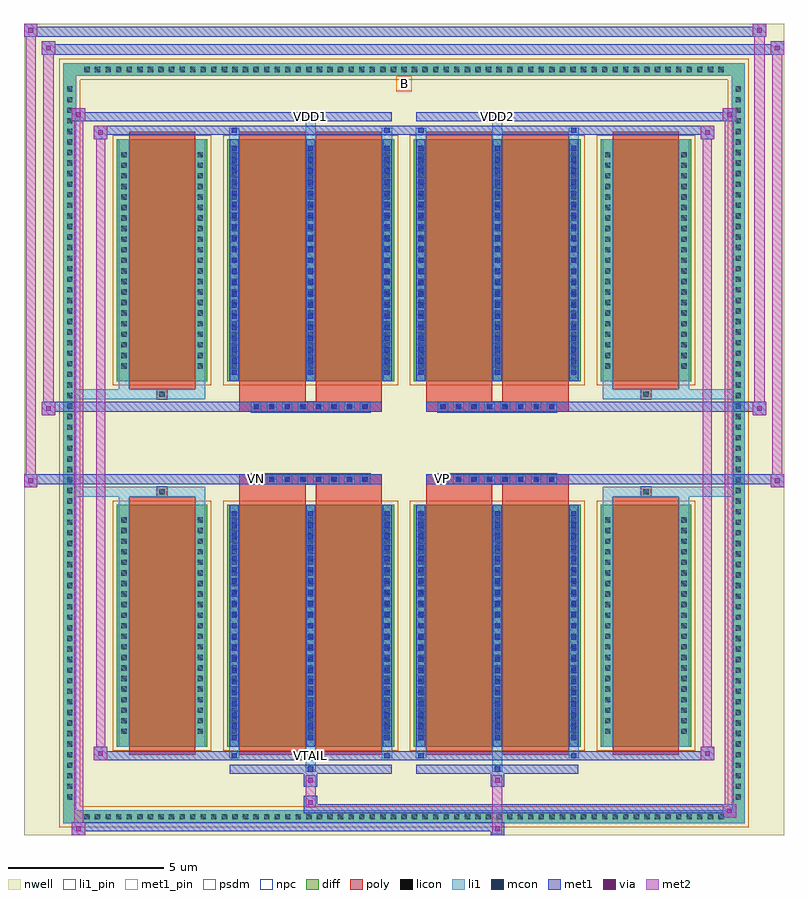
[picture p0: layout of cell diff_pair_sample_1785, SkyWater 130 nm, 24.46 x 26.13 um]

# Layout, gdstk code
import gdstk
lib = gdstk.Library(unit=1e-6, precision=5e-09)
def R(c, l, rs):  # rectangles x0, y0, x1, y1
    for r in rs: c.add(gdstk.rectangle(r[:2], r[2:], *l))
def A(c, l, x, y, w, h, nx, ny, dx, dy):  # array of equal rectangles
    R(c, l, [(x+i*dx, y+j*dy, x+i*dx+w, y+j*dy+h) for i in range(nx) for j in range(ny)])
def P(c, l, *ps):  # polygons
    for p in ps: c.add(gdstk.Polygon(p, *l))
nwell = (64, 20)
diff = (65, 20)
poly = (66, 20)
licon = (66, 44)
li1_pin = (67, 16)
li1 = (67, 20)
mcon = (67, 44)
met1_pin = (68, 16)
met1 = (68, 20)
via = (68, 44)
met2 = (69, 20)
psdm = (94, 20)
npc = (95, 20)

diff_pair_sample_1785 = lib.new_cell('diff_pair_sample_1785')
R(diff_pair_sample_1785, nwell, [(-12.23,-12.63,12.23,13.5), (-9.55,-10.82,-0.01,-0.8), (0.01,-10.82,9.55,-0.8), (-9.55,0.8,-0.01,10.82), (0.01,0.8,9.55,10.82)])
A(diff_pair_sample_1785, diff, -10.405, -12.23, 0.41, 0.41, 61, 2, 0.34, 24.05)
A(diff_pair_sample_1785, diff, -10.96, -11.595, 0.41, 0.41, 1, 68, 0, 0.34)
A(diff_pair_sample_1785, diff, 10.55, -11.595, 0.41, 0.41, 1, 68, 0, 0.34)
R(diff_pair_sample_1785, diff, [(-10.405,-12.23,10.405,-11.82), (-10.96,-11.595,-10.55,11.595), (10.55,-11.595,10.96,11.595), (-9.24,-9.775,-6.33,-1.985), (-5.69,-9.775,-0.32,-1.985), (0.32,-9.775,5.69,-1.985), (6.33,-9.775,9.24,-1.985), (-9.24,1.985,-6.33,9.775), (-5.69,1.985,-0.32,9.775), (0.32,1.985,5.69,9.775), (6.33,1.985,9.24,9.775), (-10.405,11.82,10.405,12.23)])
P(diff_pair_sample_1785, diff, [(10.96,12.23),(-10.96,12.23),(-10.96,-11.82),(-10.55,-11.82),(-10.55,11.82),(10.55,11.82),(10.55,-11.82),(-10.55,-11.82),(-10.96,-11.82),(-10.96,-12.23),(10.96,-12.23)])
A(diff_pair_sample_1785, poly, -4.92, -1.33, 0.33, 0.33, 8, 2, 0.5, 2.33)
A(diff_pair_sample_1785, poly, 1.09, -1.33, 0.33, 0.33, 8, 2, 0.5, 2.33)
R(diff_pair_sample_1785, poly, [(-8.85,-10.025,-6.72,-1.735), (-5.3,-10.025,-3.17,-1.735), (-2.84,-10.025,-0.71,-1.735), (0.71,-10.025,2.84,-1.735), (3.17,-10.025,5.3,-1.735), (6.72,-10.025,8.85,-1.735), (-7.95,-1.735,-7.62,-1.405), (-7.95,-1.735,-7.62,-1.405), (-5.3,-1.735,-3.17,-1.33), (-2.84,-1.735,-0.71,-1.33), (0.71,-1.735,2.84,-1.33), (3.17,-1.735,5.3,-1.33), (7.62,-1.735,7.95,-1.405), (7.62,-1.735,7.95,-1.405), (-5.3,-1.33,-0.71,-1), (0.71,-1.33,5.3,-1), (-5.3,1,-0.71,1.33), (0.71,1,5.3,1.33), (-5.3,1.33,-3.17,1.735), (-2.84,1.33,-0.71,1.735), (0.71,1.33,2.84,1.735), (3.17,1.33,5.3,1.735), (-7.95,1.405,-7.62,1.735), (-7.95,1.405,-7.62,1.735), (7.62,1.405,7.95,1.735), (7.62,1.405,7.95,1.735), (-8.85,1.735,-6.72,10.025), (-5.3,1.735,-3.17,10.025), (-2.84,1.735,-0.71,10.025), (0.71,1.735,2.84,10.025), (3.17,1.735,5.3,10.025), (6.72,1.735,8.85,10.025)])
A(diff_pair_sample_1785, licon, -10.285, -12.11, 0.17, 0.17, 61, 2, 0.34, 24.05)
A(diff_pair_sample_1785, licon, -10.84, -11.475, 0.17, 0.17, 1, 68, 0, 0.34)
A(diff_pair_sample_1785, licon, 10.67, -11.475, 0.17, 0.17, 1, 68, 0, 0.34)
A(diff_pair_sample_1785, licon, -9.1, -9.365, 0.17, 0.17, 1, 21, 0, 0.34)
A(diff_pair_sample_1785, licon, -6.64, -9.365, 0.17, 0.17, 1, 21, 0, 0.34)
A(diff_pair_sample_1785, licon, -5.55, -9.365, 0.17, 0.17, 3, 21, 2.46, 0.34)
A(diff_pair_sample_1785, licon, 0.46, -9.365, 0.17, 0.17, 3, 21, 2.46, 0.34)
A(diff_pair_sample_1785, licon, 6.47, -9.365, 0.17, 0.17, 1, 21, 0, 0.34)
A(diff_pair_sample_1785, licon, 8.93, -9.365, 0.17, 0.17, 1, 21, 0, 0.34)
A(diff_pair_sample_1785, licon, -4.84, -1.25, 0.17, 0.17, 8, 2, 0.5, 2.33)
A(diff_pair_sample_1785, licon, 1.17, -1.25, 0.17, 0.17, 8, 2, 0.5, 2.33)
A(diff_pair_sample_1785, licon, -9.1, 2.395, 0.17, 0.17, 1, 21, 0, 0.34)
A(diff_pair_sample_1785, licon, -6.64, 2.395, 0.17, 0.17, 1, 21, 0, 0.34)
A(diff_pair_sample_1785, licon, -5.55, 2.395, 0.17, 0.17, 3, 21, 2.46, 0.34)
A(diff_pair_sample_1785, licon, 0.46, 2.395, 0.17, 0.17, 3, 21, 2.46, 0.34)
A(diff_pair_sample_1785, licon, 6.47, 2.395, 0.17, 0.17, 1, 21, 0, 0.34)
A(diff_pair_sample_1785, licon, 8.93, 2.395, 0.17, 0.17, 1, 21, 0, 0.34)
R(diff_pair_sample_1785, licon, [(-7.87,-1.655,-7.7,-1.485), (7.7,-1.655,7.87,-1.485), (-7.87,1.485,-7.7,1.655), (7.7,1.485,7.87,1.655)])
R(diff_pair_sample_1785, li1_pin, [(-0.25,11.32,0.25,11.82)])
A(diff_pair_sample_1785, li1, -10.365, -12.19, 0.33, 0.33, 61, 2, 0.34, 24.05)
A(diff_pair_sample_1785, li1, -10.92, -11.555, 0.33, 0.33, 1, 68, 0, 0.34)
A(diff_pair_sample_1785, li1, 10.59, -11.555, 0.33, 0.33, 1, 68, 0, 0.34)
A(diff_pair_sample_1785, li1, -5.63, -9.775, 0.33, 7.79, 3, 2, 2.46, 11.76)
A(diff_pair_sample_1785, li1, 0.38, -9.775, 0.33, 7.79, 3, 2, 2.46, 11.76)
A(diff_pair_sample_1785, li1, -5.55, -9.565, 0.17, 0.17, 3, 21, 2.46, 0.36)
A(diff_pair_sample_1785, li1, -5.55, -9.565, 0.17, 7.37, 3, 2, 2.46, 11.76)
A(diff_pair_sample_1785, li1, 0.46, -9.565, 0.17, 0.17, 3, 21, 2.46, 0.36)
A(diff_pair_sample_1785, li1, 0.46, -9.565, 0.17, 7.37, 3, 2, 2.46, 11.76)
A(diff_pair_sample_1785, li1, -9.18, -9.445, 0.33, 0.33, 1, 21, 0, 0.34)
A(diff_pair_sample_1785, li1, -6.72, -9.445, 0.33, 0.33, 1, 21, 0, 0.34)
A(diff_pair_sample_1785, li1, -5.63, -9.445, 0.33, 0.33, 3, 21, 2.46, 0.34)
A(diff_pair_sample_1785, li1, 0.38, -9.445, 0.33, 0.33, 3, 21, 2.46, 0.34)
A(diff_pair_sample_1785, li1, 6.39, -9.445, 0.33, 0.33, 1, 21, 0, 0.34)
A(diff_pair_sample_1785, li1, 8.85, -9.445, 0.33, 0.33, 1, 21, 0, 0.34)
A(diff_pair_sample_1785, li1, -4.92, -1.33, 0.33, 0.33, 8, 2, 0.5, 2.33)
A(diff_pair_sample_1785, li1, 1.09, -1.33, 0.33, 0.33, 8, 2, 0.5, 2.33)
A(diff_pair_sample_1785, li1, -5.55, 2.195, 0.17, 0.17, 3, 21, 2.46, 0.36)
A(diff_pair_sample_1785, li1, 0.46, 2.195, 0.17, 0.17, 3, 21, 2.46, 0.36)
A(diff_pair_sample_1785, li1, -9.18, 2.315, 0.33, 0.33, 1, 21, 0, 0.34)
A(diff_pair_sample_1785, li1, -6.72, 2.315, 0.33, 0.33, 1, 21, 0, 0.34)
A(diff_pair_sample_1785, li1, -5.63, 2.315, 0.33, 0.33, 3, 21, 2.46, 0.34)
A(diff_pair_sample_1785, li1, 0.38, 2.315, 0.33, 0.33, 3, 21, 2.46, 0.34)
A(diff_pair_sample_1785, li1, 6.39, 2.315, 0.33, 0.33, 1, 21, 0, 0.34)
A(diff_pair_sample_1785, li1, 8.85, 2.315, 0.33, 0.33, 1, 21, 0, 0.34)
R(diff_pair_sample_1785, li1, [(-10.96,-12.23,-10.55,-11.82), (-10.96,-12.23,-10.55,-11.82), (-10.55,-12.23,10.55,-11.82), (10.55,-12.23,10.96,-11.82), (10.55,-12.23,10.96,-11.82), (-10.96,-11.82,-10.55,11.82), (10.55,-11.82,10.96,11.82), (-3.17,-10.58,-2.84,-9.775), (-3.09,-10.58,-2.92,-10.41), (2.84,-10.58,3.17,-9.775), (2.92,-10.58,3.09,-10.41), (-5.63,-10.15,-5.3,-9.775), (-5.55,-10.15,-5.38,-9.98), (-0.71,-10.15,-0.38,-9.775), (-0.63,-10.15,-0.46,-9.98), (0.38,-10.15,0.71,-9.775), (0.46,-10.15,0.63,-9.98), (5.3,-10.15,5.63,-9.775), (5.38,-10.15,5.55,-9.98), (-9.18,-9.775,-8.85,-1.985), (-6.72,-9.775,-6.39,-1.985), (6.39,-9.775,6.72,-1.985), (8.85,-9.775,9.18,-1.985), (-9.18,-1.985,-8.85,-1.405), (-6.72,-1.985,-6.39,-1.405), (6.39,-1.985,6.72,-1.405), (8.85,-1.985,9.18,-1.405), (-10.96,-1.735,-7.95,-1.405), (-9.18,-1.735,-7.95,-1.405), (-7.95,-1.735,-7.62,-1.405), (-7.62,-1.735,-6.39,-1.405), (6.39,-1.735,7.62,-1.405), (7.62,-1.735,7.95,-1.405), (7.62,-1.735,10.96,-1.405), (7.95,-1.735,9.18,-1.405), (-10.96,1.405,-7.95,1.735), (-9.18,1.405,-7.95,1.735), (-9.18,1.405,-8.85,1.985), (-7.95,1.405,-7.62,1.735), (-7.62,1.405,-6.39,1.735), (-6.72,1.405,-6.39,1.985), (6.39,1.405,7.62,1.735), (6.39,1.405,6.72,1.985), (7.62,1.405,7.95,1.735), (7.62,1.405,10.96,1.735), (7.95,1.405,9.18,1.735), (8.85,1.405,9.18,1.985), (-9.18,1.985,-8.85,9.775), (-6.72,1.985,-6.39,9.775), (6.39,1.985,6.72,9.775), (8.85,1.985,9.18,9.775), (-5.63,9.775,-5.3,10.15), (-3.17,9.775,-2.84,10.58), (-0.71,9.775,-0.38,10.15), (0.38,9.775,0.71,10.15), (2.84,9.775,3.17,10.58), (5.3,9.775,5.63,10.15), (-5.55,9.98,-5.38,10.15), (-0.63,9.98,-0.46,10.15), (0.46,9.98,0.63,10.15), (5.38,9.98,5.55,10.15), (-3.09,10.41,-2.92,10.58), (2.92,10.41,3.09,10.58), (-10.96,11.82,-10.55,12.23), (-10.96,11.82,-10.55,12.23), (-10.55,11.82,10.55,12.23), (10.55,11.82,10.96,12.23), (10.55,11.82,10.96,12.23)])
A(diff_pair_sample_1785, mcon, -5.55, -9.565, 0.17, 0.17, 3, 21, 2.46, 0.36)
A(diff_pair_sample_1785, mcon, 0.46, -9.565, 0.17, 0.17, 3, 21, 2.46, 0.36)
A(diff_pair_sample_1785, mcon, -4.84, -1.25, 0.17, 0.17, 8, 2, 0.5, 2.33)
A(diff_pair_sample_1785, mcon, 1.17, -1.25, 0.17, 0.17, 8, 2, 0.5, 2.33)
A(diff_pair_sample_1785, mcon, -5.55, 2.195, 0.17, 0.17, 3, 21, 2.46, 0.36)
A(diff_pair_sample_1785, mcon, 0.46, 2.195, 0.17, 0.17, 3, 21, 2.46, 0.36)
R(diff_pair_sample_1785, mcon, [(-3.09,-10.58,-2.92,-10.41), (2.92,-10.58,3.09,-10.41), (-5.55,-10.15,-5.38,-9.98), (-0.63,-10.15,-0.46,-9.98), (0.46,-10.15,0.63,-9.98), (5.38,-10.15,5.55,-9.98), (-5.55,9.98,-5.38,10.15), (-0.63,9.98,-0.46,10.15), (0.46,9.98,0.63,10.15), (5.38,9.98,5.55,10.15), (-3.09,10.41,-2.92,10.58), (2.92,10.41,3.09,10.58)])
R(diff_pair_sample_1785, met1_pin, [(-3.14,-10.19,-2.87,-9.92), (-4.89,-1.29,-4.62,-1.02), (1.12,-1.29,1.39,-1.02), (-3.14,10.37,-2.87,10.64), (2.87,10.37,3.14,10.64)])
A(diff_pair_sample_1785, met1, -5.61, -9.775, 0.29, 7.79, 3, 2, 2.46, 11.76)
A(diff_pair_sample_1785, met1, 0.4, -9.775, 0.29, 7.79, 3, 2, 2.46, 11.76)
A(diff_pair_sample_1785, met1, -5.61, -9.625, 0.29, 0.29, 3, 21, 2.46, 0.36)
A(diff_pair_sample_1785, met1, 0.4, -9.625, 0.29, 0.29, 3, 21, 2.46, 0.36)
A(diff_pair_sample_1785, met1, -4.9, -1.31, 0.29, 0.29, 8, 2, 0.5, 2.33)
A(diff_pair_sample_1785, met1, 1.11, -1.31, 0.29, 0.29, 8, 2, 0.5, 2.33)
A(diff_pair_sample_1785, met1, -5.61, 2.135, 0.29, 0.29, 3, 21, 2.46, 0.36)
A(diff_pair_sample_1785, met1, 0.4, 2.135, 0.29, 0.29, 3, 21, 2.46, 0.36)
R(diff_pair_sample_1785, met1, [(-10.69,-12.63,-10.26,-12.2), (2.79,-12.63,3.22,-12.2), (-10.69,-12.49,3.22,-12.2), (10.26,-12.06,10.69,-11.63), (-3.22,-11.92,10.69,-11.63), (-3.22,-11.78,-2.79,-11.35), (-3.22,-11.07,-2.79,-10.64), (2.79,-11.07,3.22,-10.64), (-5.61,-10.64,-0.4,-10.35), (-3.15,-10.64,-2.86,-10.35), (0.4,-10.64,5.61,-10.35), (2.86,-10.64,3.15,-10.35), (-9.98,-10.21,-9.55,-9.78), (-9.98,-10.21,-5.61,-9.92), (-5.61,-10.21,-5.32,-9.92), (-5.61,-10.21,-0.4,-9.92), (-0.69,-10.21,-0.4,-9.92), (-0.4,-10.21,0.4,-9.92), (0.4,-10.21,0.69,-9.92), (0.4,-10.21,5.61,-9.92), (5.32,-10.21,5.61,-9.92), (5.61,-10.21,9.98,-9.92), (9.55,-10.21,9.98,-9.78), (-12.23,-1.43,-11.8,-1), (11.8,-1.43,12.23,-1), (-12.23,-1.33,-0.71,-1), (-5.3,-1.33,-0.71,-1), (0.71,-1.33,5.3,-1), (0.71,-1.33,12.23,-1), (-11.66,0.9,-11.23,1.33), (11.23,0.9,11.66,1.33), (-11.66,1,-5.3,1.33), (-5.3,1,-0.71,1.33), (0.71,1,5.3,1.33), (5.3,1,11.66,1.33), (-9.98,9.78,-9.55,10.21), (9.55,9.78,9.98,10.21), (-9.98,9.92,-5.61,10.21), (-5.61,9.92,-5.32,10.21), (-5.61,9.92,-0.4,10.21), (-0.69,9.92,-0.4,10.21), (-0.4,9.92,0.4,10.21), (0.4,9.92,0.69,10.21), (0.4,9.92,5.61,10.21), (5.32,9.92,5.61,10.21), (5.61,9.92,9.98,10.21), (-10.69,10.35,-10.26,10.78), (-10.69,10.35,-5.61,10.64), (-5.61,10.35,-0.4,10.64), (-3.15,10.35,-2.86,10.64), (0.4,10.35,5.61,10.64), (2.86,10.35,3.15,10.64), (5.61,10.35,10.69,10.64), (10.26,10.35,10.69,10.78), (-11.66,12.5,-11.23,12.93), (-11.66,12.5,-9.55,12.83), (-9.55,12.5,9.55,12.83), (9.55,12.5,12.23,12.83), (11.8,12.5,12.23,12.93), (-12.23,13.07,-11.8,13.5), (-12.23,13.07,-9.55,13.4), (-9.55,13.07,9.55,13.4), (9.55,13.07,11.66,13.4), (11.23,13.07,11.66,13.5)])
R(diff_pair_sample_1785, via, [(-10.55,-12.49,-10.4,-12.34), (2.93,-12.49,3.08,-12.34), (10.4,-11.92,10.55,-11.77), (-3.08,-11.64,-2.93,-11.49), (-3.08,-10.93,-2.93,-10.78), (2.93,-10.93,3.08,-10.78), (-9.84,-10.07,-9.69,-9.92), (9.69,-10.07,9.84,-9.92), (-12.09,-1.29,-11.94,-1.14), (11.94,-1.29,12.09,-1.14), (-11.52,1.04,-11.37,1.19), (11.37,1.04,11.52,1.19), (-9.84,9.92,-9.69,10.07), (9.69,9.92,9.84,10.07), (-10.55,10.49,-10.4,10.64), (10.4,10.49,10.55,10.64), (-11.52,12.64,-11.37,12.79), (11.94,12.64,12.09,12.79), (-12.09,13.21,-11.94,13.36), (11.37,13.21,11.52,13.36)])
R(diff_pair_sample_1785, met2, [(-10.69,-12.63,-10.26,-12.2), (-10.62,-12.63,-10.33,10.78), (-10.33,-12.63,-10.26,-12.2), (-10.64,-12.58,-10.31,-12.25), (2.84,-12.58,3.17,-12.25), (2.84,-12.25,3.17,-11.02), (10.26,-12.06,10.69,-11.63), (10.33,-12.06,10.62,10.78), (10.62,-12.06,10.69,-11.63), (10.31,-12.01,10.64,-11.68), (-3.17,-11.73,-2.84,-11.4), (-3.17,-11.4,-2.84,-11.02), (-3.17,-11.02,-2.84,-10.69), (2.84,-11.02,3.17,-10.69), (-9.98,-10.21,-9.55,-9.78), (-9.91,-10.21,-9.62,10.21), (-9.62,-10.21,-9.55,-9.78), (9.55,-10.21,9.98,-9.78), (9.62,-10.21,9.91,10.21), (9.91,-10.21,9.98,-9.78), (-9.93,-10.16,-9.6,-9.83), (9.6,-10.16,9.93,-9.83), (-12.23,-1.43,-11.8,-1), (-12.18,-1.43,-11.85,13.5), (-11.85,-1.43,-11.8,-1), (11.8,-1.43,12.23,-1), (11.85,-1.43,12.18,12.93), (12.18,-1.43,12.23,-1), (-12.18,-1.38,-11.85,-1.05), (11.85,-1.38,12.18,-1.05), (-11.66,0.9,-11.23,1.33), (-11.61,0.9,-11.28,12.93), (-11.28,0.9,-11.23,1.33), (11.23,0.9,11.66,1.33), (11.28,0.9,11.61,13.5), (11.61,0.9,11.66,1.33), (-11.61,0.95,-11.28,1.28), (11.28,0.95,11.61,1.28), (-9.98,9.78,-9.55,10.21), (-9.62,9.78,-9.55,10.21), (9.55,9.78,9.98,10.21), (9.91,9.78,9.98,10.21), (-9.93,9.83,-9.6,10.16), (9.6,9.83,9.93,10.16), (-10.69,10.35,-10.26,10.78), (-10.33,10.35,-10.26,10.78), (10.26,10.35,10.69,10.78), (10.62,10.35,10.69,10.78), (-10.64,10.4,-10.31,10.73), (10.31,10.4,10.64,10.73), (-11.66,12.5,-11.23,12.93), (-11.28,12.5,-11.23,12.93), (11.8,12.5,12.23,12.93), (12.18,12.5,12.23,12.93), (-11.61,12.55,-11.28,12.88), (11.85,12.55,12.18,12.88), (-12.23,13.07,-11.8,13.5), (-11.85,13.07,-11.8,13.5), (11.23,13.07,11.66,13.5), (11.61,13.07,11.66,13.5), (-12.18,13.12,-11.85,13.45), (11.28,13.12,11.61,13.45)])
R(diff_pair_sample_1785, psdm, [(-9.37,-9.905,-6.2,-1.855), (-5.82,-9.905,-0.19,-1.855), (0.19,-9.905,5.82,-1.855), (6.2,-9.905,9.37,-1.855), (-9.37,1.855,-6.2,9.905), (-5.82,1.855,-0.19,9.905), (0.19,1.855,5.82,9.905), (6.2,1.855,9.37,9.905)])
P(diff_pair_sample_1785, psdm, [(11.09,12.36),(-11.09,12.36),(-11.09,-11.69),(-10.42,-11.69),(-10.42,11.69),(10.42,11.69),(10.42,-11.69),(-10.42,-11.69),(-11.09,-11.69),(-11.09,-12.36),(11.09,-12.36)])
A(diff_pair_sample_1785, npc, -4.94, -1.35, 0.37, 0.37, 8, 2, 0.5, 2.33)
A(diff_pair_sample_1785, npc, 1.07, -1.35, 0.37, 0.37, 8, 2, 0.5, 2.33)
R(diff_pair_sample_1785, npc, [(-7.97,-1.755,-7.6,-1.385), (7.6,-1.755,7.97,-1.385), (-4.94,-1.35,-4.07,-0.98), (-4.94,-1.35,-4.07,-0.98), (-4.44,-1.35,-3.57,-0.98), (-4.44,-1.35,-3.57,-0.98), (-3.94,-1.35,-3.07,-0.98), (-3.94,-1.35,-3.07,-0.98), (-3.44,-1.35,-2.57,-0.98), (-3.44,-1.35,-2.57,-0.98), (-2.94,-1.35,-2.07,-0.98), (-2.94,-1.35,-2.07,-0.98), (-2.44,-1.35,-1.57,-0.98), (-2.44,-1.35,-1.57,-0.98), (-1.94,-1.35,-1.07,-0.98), (-1.94,-1.35,-1.07,-0.98), (1.07,-1.35,1.94,-0.98), (1.07,-1.35,1.94,-0.98), (1.57,-1.35,2.44,-0.98), (1.57,-1.35,2.44,-0.98), (2.07,-1.35,2.94,-0.98), (2.07,-1.35,2.94,-0.98), (2.57,-1.35,3.44,-0.98), (2.57,-1.35,3.44,-0.98), (3.07,-1.35,3.94,-0.98), (3.07,-1.35,3.94,-0.98), (3.57,-1.35,4.44,-0.98), (3.57,-1.35,4.44,-0.98), (4.07,-1.35,4.94,-0.98), (4.07,-1.35,4.94,-0.98), (-4.94,0.98,-4.07,1.35), (-4.94,0.98,-4.07,1.35), (-4.44,0.98,-3.57,1.35), (-4.44,0.98,-3.57,1.35), (-3.94,0.98,-3.07,1.35), (-3.94,0.98,-3.07,1.35), (-3.44,0.98,-2.57,1.35), (-3.44,0.98,-2.57,1.35), (-2.94,0.98,-2.07,1.35), (-2.94,0.98,-2.07,1.35), (-2.44,0.98,-1.57,1.35), (-2.44,0.98,-1.57,1.35), (-1.94,0.98,-1.07,1.35), (-1.94,0.98,-1.07,1.35), (1.07,0.98,1.94,1.35), (1.07,0.98,1.94,1.35), (1.57,0.98,2.44,1.35), (1.57,0.98,2.44,1.35), (2.07,0.98,2.94,1.35), (2.07,0.98,2.94,1.35), (2.57,0.98,3.44,1.35), (2.57,0.98,3.44,1.35), (3.07,0.98,3.94,1.35), (3.07,0.98,3.94,1.35), (3.57,0.98,4.44,1.35), (3.57,0.98,4.44,1.35), (4.07,0.98,4.94,1.35), (4.07,0.98,4.94,1.35), (-7.97,1.385,-7.6,1.755), (7.6,1.385,7.97,1.755)])
diff_pair_sample_1785.add(gdstk.Label('VTAIL', (-3.005,-10.055), layer=68, texttype=5))
diff_pair_sample_1785.add(gdstk.Label('VN', (-4.755,-1.155), layer=68, texttype=5))
diff_pair_sample_1785.add(gdstk.Label('VP', (1.255,-1.155), layer=68, texttype=5))
diff_pair_sample_1785.add(gdstk.Label('B', (0,11.57), layer=67, texttype=5))
diff_pair_sample_1785.add(gdstk.Label('VDD2', (3.005,10.505), layer=68, texttype=5))
diff_pair_sample_1785.add(gdstk.Label('VDD1', (-3.005,10.505), layer=68, texttype=5))

lib.write_gds('diff_pair_sample_1785.gds')
